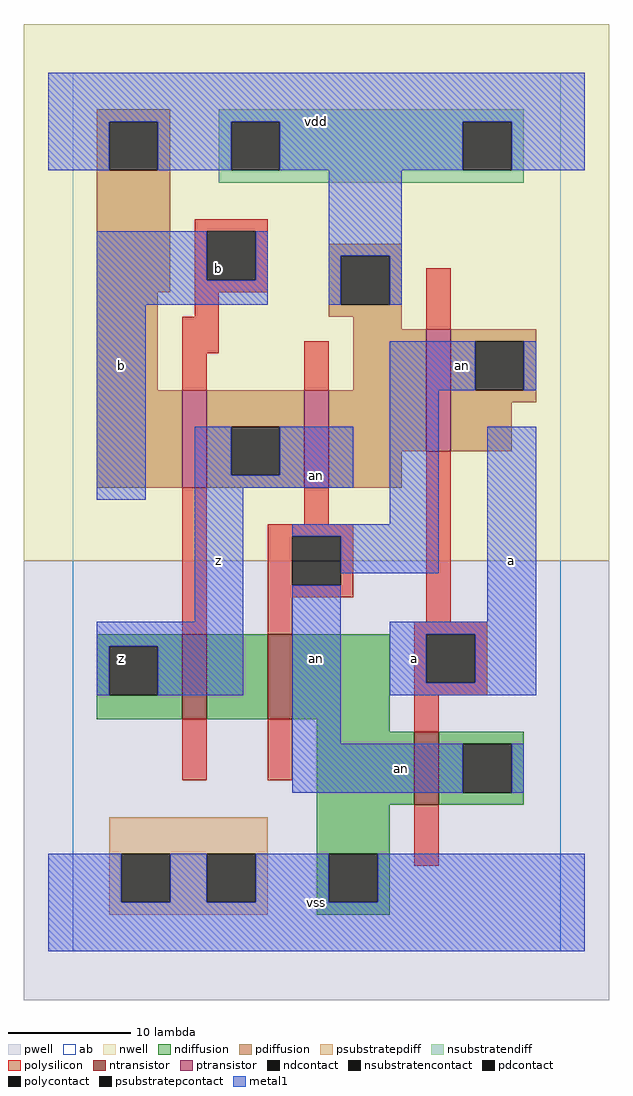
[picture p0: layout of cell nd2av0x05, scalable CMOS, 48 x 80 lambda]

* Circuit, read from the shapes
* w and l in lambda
.subckt nd2av0x05 a an b vdd vss z
M1 n1 b z vss nfet w=7 l=2
M2 vss an n1 vss nfet w=7 l=2
M3 an a vss vss nfet w=6 l=2
M4 z b vdd vdd pfet w=8 l=2
M5 vdd an z vdd pfet w=8 l=2
M6 an a vdd vdd pfet w=10 l=2
.ends

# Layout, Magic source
magic
tech scmos
<< ab >>
rect 0 0 40 72
<< pwell >>
rect -4 -4 44 32
<< nwell >>
rect -4 32 44 76
<< polysilicon >>
rect 10 59 16 60
rect 10 55 11 59
rect 15 55 16 59
rect 10 54 16 55
rect 10 52 12 54
rect 9 49 12 52
rect 29 51 31 56
rect 9 46 11 49
rect 19 46 21 50
rect 9 26 11 38
rect 19 35 21 38
rect 16 34 23 35
rect 16 30 18 34
rect 22 30 23 34
rect 16 29 23 30
rect 16 26 18 29
rect 29 27 31 41
rect 28 26 34 27
rect 9 14 11 19
rect 16 14 18 19
rect 28 22 29 26
rect 33 22 34 26
rect 28 21 34 22
rect 28 18 30 21
rect 28 7 30 12
<< ndiffusion >>
rect 2 25 9 26
rect 2 21 3 25
rect 7 21 9 25
rect 2 19 9 21
rect 11 19 16 26
rect 18 19 26 26
rect 20 18 26 19
rect 20 12 28 18
rect 30 17 37 18
rect 30 13 32 17
rect 36 13 37 17
rect 30 12 37 13
rect 20 8 26 12
rect 20 4 21 8
rect 25 4 26 8
rect 20 3 26 4
<< pdiffusion >>
rect 2 68 8 69
rect 2 64 3 68
rect 7 64 8 68
rect 2 54 8 64
rect 21 57 27 58
rect 2 46 7 54
rect 21 53 22 57
rect 26 53 27 57
rect 21 52 27 53
rect 23 51 27 52
rect 23 46 29 51
rect 2 38 9 46
rect 11 43 19 46
rect 11 39 13 43
rect 17 39 19 43
rect 11 38 19 39
rect 21 41 29 46
rect 31 50 38 51
rect 31 46 33 50
rect 37 46 38 50
rect 31 45 38 46
rect 31 41 36 45
rect 21 38 27 41
<< metal1 >>
rect -2 68 42 72
rect -2 64 3 68
rect 7 64 13 68
rect 17 64 32 68
rect 36 64 42 68
rect 2 55 11 59
rect 15 55 16 59
rect 2 53 16 55
rect 21 57 27 64
rect 21 53 22 57
rect 26 53 27 57
rect 2 37 6 53
rect 26 46 33 50
rect 37 46 38 50
rect 10 39 13 43
rect 17 39 23 43
rect 10 38 23 39
rect 10 27 14 38
rect 26 35 30 46
rect 2 25 14 27
rect 2 21 3 25
rect 7 21 14 25
rect 18 34 30 35
rect 22 31 30 34
rect 18 17 22 30
rect 34 27 38 43
rect 26 26 38 27
rect 26 22 29 26
rect 33 22 38 26
rect 26 21 38 22
rect 18 13 32 17
rect 36 13 37 17
rect -2 4 4 8
rect 8 4 11 8
rect 15 4 21 8
rect 25 4 42 8
rect -2 0 42 4
<< ntransistor >>
rect 9 19 11 26
rect 16 19 18 26
rect 28 12 30 18
<< ptransistor >>
rect 9 38 11 46
rect 19 38 21 46
rect 29 41 31 51
<< polycontact >>
rect 11 55 15 59
rect 18 30 22 34
rect 29 22 33 26
<< ndcontact >>
rect 3 21 7 25
rect 32 13 36 17
rect 21 4 25 8
<< pdcontact >>
rect 3 64 7 68
rect 22 53 26 57
rect 13 39 17 43
rect 33 46 37 50
<< psubstratepcontact >>
rect 4 4 8 8
rect 11 4 15 8
<< nsubstratencontact >>
rect 13 64 17 68
rect 32 64 36 68
<< psubstratepdiff >>
rect 3 8 16 11
rect 3 4 4 8
rect 8 4 11 8
rect 15 4 16 8
rect 3 3 16 4
<< nsubstratendiff >>
rect 12 68 37 69
rect 12 64 13 68
rect 17 64 32 68
rect 36 64 37 68
rect 12 63 37 64
<< labels >>
rlabel ptransistor 20 39 20 39 6 an
rlabel ndcontact 4 24 4 24 6 z
rlabel metal1 4 48 4 48 6 b
rlabel metal1 12 32 12 32 6 z
rlabel polycontact 12 56 12 56 6 b
rlabel metal1 20 4 20 4 6 vss
rlabel metal1 20 24 20 24 6 an
rlabel metal1 28 24 28 24 6 a
rlabel metal1 20 40 20 40 6 z
rlabel metal1 20 68 20 68 6 vdd
rlabel metal1 27 15 27 15 6 an
rlabel metal1 36 32 36 32 6 a
rlabel metal1 32 48 32 48 6 an
<< end >>
